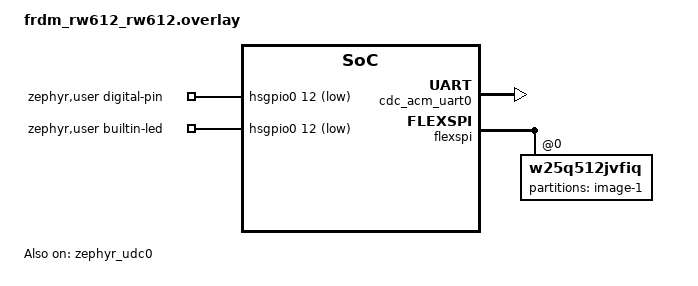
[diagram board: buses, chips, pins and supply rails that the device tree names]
&zephyr_udc0 {
	status = "okay";
	cdc_acm_uart0: cdc_acm_uart0 {
		compatible = "zephyr,cdc-acm-uart";
		status = "okay";
	};
};

&flexspi {
	w25q512jvfiq: w25q512jvfiq@0 {
			partitions {
				user_sketch: partition@323000 {
					label = "image-1";
					reg = <0x00323000 DT_SIZE_M(3)>;
				};
			};
	};
};

/ {
	zephyr,user {
		digital-pin-gpios = <&hsgpio0 12 GPIO_ACTIVE_LOW>;
		builtin-led-gpios = <&hsgpio0 12 GPIO_ACTIVE_LOW>;
		serials = <&cdc_acm_uart0>;
		cdc-acm = <&cdc_acm_uart0>;
		i2cs = <&arduino_i2c>;
		spis = <&flexcomm1>;
	};
};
